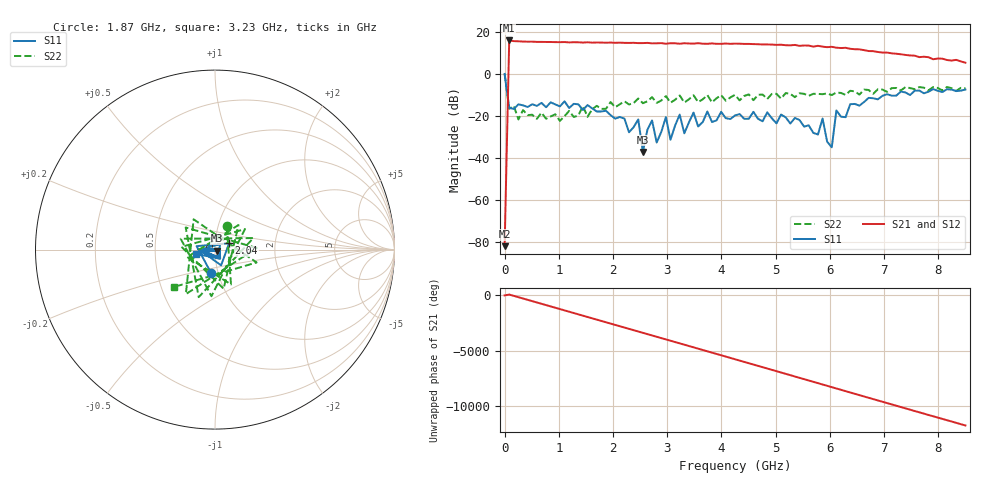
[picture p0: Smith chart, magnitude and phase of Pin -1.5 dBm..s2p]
! RsaToolbox (C) 2013 Rohde & Schwarz America
! Number of points: 101
! Number of ports: 2
! Balanced ports?: 0
# Hz S RI R 50
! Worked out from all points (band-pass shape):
!   101 points, 9 kHz to 8.5 GHz, reference 50 ohm
!   highest |S21| = 16.01 dB at 85.01 MHz (marker M1); lowest = -82.2 dB at 9 kHz (marker M2)
!   |S21| within 3 dB of the highest: 82.41 MHz to 5.883 GHz (5.801 GHz wide, 194 % of centre)
!   lowest |S11| = -37.2 dB at 2.55 GHz (marker M3), VSWR 1.03, Z = 51.2 - j0.658 ohm
!   |S11| at or under -10 dB: 52.63 MHz to 7.016 GHz (6.964 GHz wide, 197 % of centre); 7.097 GHz to 7.24 GHz (142.4 MHz wide, 1.99 % of centre); 7.477166 GHz to 7.481666 GHz (4.499 MHz wide, 0.0602 % of centre)
!   |S22| runs from -22.4 to 0.1 dB; largest |S21 - S12| = 0
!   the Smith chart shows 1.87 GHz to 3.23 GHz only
!   S11 on the Smith chart (normalised r, x): 1.87 GHz: 0.93, -0.25; 2.04 GHz: 1.17, +0.08; 3.23 GHz: 0.81, -0.04
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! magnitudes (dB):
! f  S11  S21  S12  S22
! 9 kHz  0.0  -82.2  -82.2  0.1
! 85.01 MHz  -16.2  16.0  16.0  -16.6
! 1.445 GHz  -17.2  15.0  15.0  -15.3
! 1.87 GHz  -17.6  14.9  14.9  -16.6
! 2.04 GHz  -21.3  14.9  14.9  -15.9
! 2.465 GHz  -21.7  14.7  14.7  -11.7
! 2.55 GHz  -37.2  14.8  14.8  -14.0
! 2.72 GHz  -22.2  14.6  14.6  -11.1
! 2.805 GHz  -32.7  14.7  14.7  -13.8
! 2.89 GHz  -27.7  14.7  14.7  -12.7
! 2.975 GHz  -20.6  14.4  14.4  -10.6
! 3.06 GHz  -31.4  14.7  14.7  -13.7
! 3.23 GHz  -19.4  14.5  14.5  -10.2
! 3.315 GHz  -28.3  14.7  14.7  -13.6
! 3.485 GHz  -18.4  14.5  14.5  -10.2
! 4.25 GHz  -19.8  14.5  14.5  -9.9
! 5.695 GHz  -28.1  13.1  13.1  -9.5
! 5.865 GHz  -21.3  13.1  13.1  -9.6
! 6.035 GHz  -35.0  13.0  13.0  -10.1
! 6.12 GHz  -17.4  12.6  12.6  -8.8
! 7.14 GHz  -10.3  9.9  9.9  -6.8
! 8.5 GHz  -7.4  5.4  5.4  -6.7
